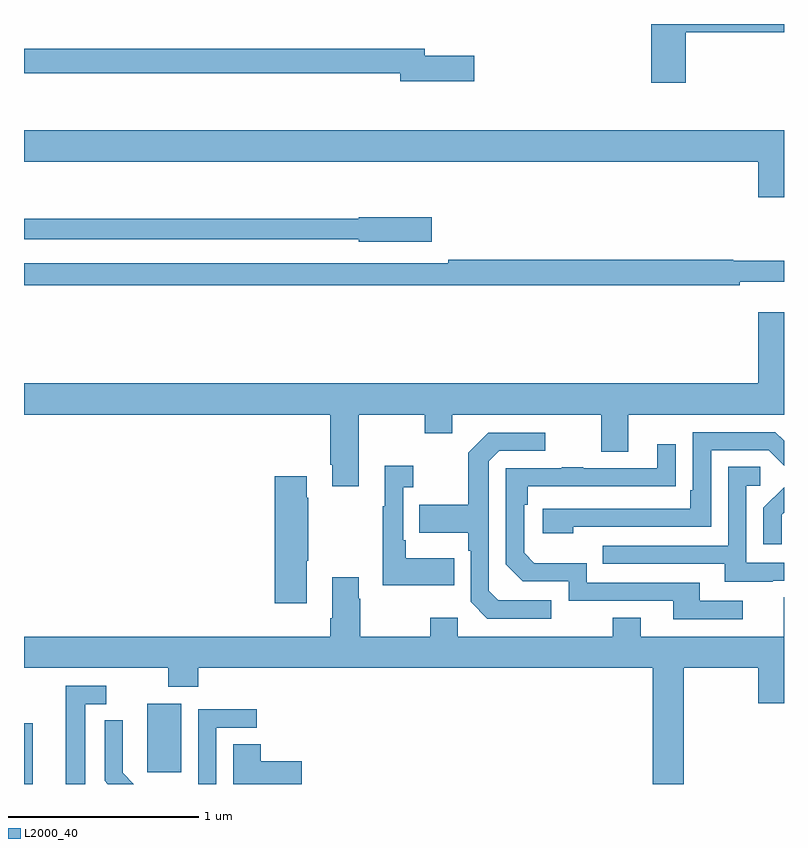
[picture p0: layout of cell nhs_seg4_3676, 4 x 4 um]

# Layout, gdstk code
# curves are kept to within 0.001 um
import gdstk
lib = gdstk.Library(unit=1e-6, precision=1e-09)
def R(c, l, rs):  # rectangles x0, y0, x1, y1
    for r in rs: c.add(gdstk.rectangle(r[:2], r[2:], *l))
def P(c, l, *ps):  # polygons
    for p in ps: c.add(gdstk.Polygon(p, *l))
L2000_40 = (2000, 40)

nhs_seg4_3676 = lib.new_cell('nhs_seg4_3676')
R(nhs_seg4_3676, L2000_40, [(305,770.9,305.047,771.219), (305.648,770.961,305.827,771.322)])
P(nhs_seg4_3676, L2000_40, [(308.483,774.856),(309,774.856),(309,774.9),(308.3,774.9),(308.3,774.591),(308.483,774.591)],
  [(307.369,774.734),(307.108,774.734),(307.108,774.77),(305,774.77),(305,774.642),(306.98,774.642),(306.98,774.599),(307.369,774.599)],
  [(309,774.34),(305,774.34),(305,774.176),(308.864,774.176),(308.864,773.988),(309,773.988)],
  [(307.147,773.883),(306.762,773.883),(306.762,773.875),(305,773.875),(305,773.766),(306.762,773.766),(306.762,773.753),(307.147,773.753)],
  [(308.768,773.543),(309,773.543),(309,773.653),(308.734,773.653),(308.734,773.66),(307.234,773.66),(307.234,773.64),(305,773.64),(305,773.524),(308.768,773.524)],
  [(305,772.844),(306.611,772.844),(306.611,772.579),(306.623,772.579),(306.623,772.467),(306.763,772.467),(306.763,772.844),(307.108,772.844),(307.108,772.745),(307.255,772.745),(307.255,772.844),(308.039,772.844),(308.039,772.65),(308.179,772.65),(308.179,772.844),(309,772.844),(309,773.383),(308.864,773.383),(308.864,773.008),(305,773.008)],
  [(307.892,772.254),(308.616,772.254),(308.616,772.656),(308.919,772.656),(309,772.575),(309,772.707),(308.955,772.752),(308.52,772.752),(308.52,772.447),(308.507,772.447),(308.507,772.35),(307.731,772.35),(307.731,772.22),(307.892,772.22)],
  [(307.774,771.867),(307.497,771.867),(307.446,771.918),(307.446,772.599),(307.5,772.653),(307.744,772.653),(307.744,772.749),(307.443,772.749),(307.338,772.643),(307.338,772.371),(307.081,772.371),(307.081,772.223),(307.338,772.223),(307.338,772.127),(307.35,772.127),(307.35,771.858),(307.437,771.771),(307.774,771.771)],
  [(308.782,771.864),(308.557,771.864),(308.557,771.96),(307.962,771.96),(307.962,772.063),(307.685,772.063),(307.632,772.116),(307.632,772.37),(307.652,772.37),(307.652,772.467),(308.429,772.468),(308.429,772.687),(308.333,772.687),(308.333,772.563),(307.943,772.563),(307.943,772.568),(307.831,772.568),(307.831,772.563),(307.536,772.563),(307.536,772.056),(307.626,771.966),(307.866,771.966),(307.866,771.864),(308.417,771.864),(308.417,771.768),(308.782,771.768)],
  [(307.265,772.087),(307.009,772.087),(307.009,772.183),(306.996,772.183),(306.996,772.463),(307.048,772.463),(307.048,772.576),(306.899,772.576),(306.899,772.363),(306.888,772.363),(306.888,771.947),(307.265,771.947)],
  [(308.941,771.969),(309,771.969),(309,772.065),(308.802,772.065),(308.802,772.47),(308.875,772.47),(308.875,772.571),(308.706,772.571),(308.706,772.155),(308.047,772.155),(308.047,772.059),(308.687,772.059),(308.687,771.965),(308.941,771.965)],
  [(306.487,772.075),(306.495,772.075),(306.495,772.406),(306.487,772.406),(306.487,772.519),(306.32,772.519),(306.32,771.852),(306.487,771.852)],
  [(308.989,772.317),(309,772.328),(309,772.462),(308.892,772.354),(308.892,772.161),(308.989,772.161)],
  [(308.473,771.512),(308.864,771.512),(308.864,771.324),(309,771.324),(309,771.884),(308.999,771.884),(308.999,771.676),(308.245,771.676),(308.245,771.775),(308.098,771.775),(308.098,771.676),(307.284,771.676),(307.284,771.775),(307.138,771.775),(307.138,771.676),(306.771,771.676),(306.771,771.875),(306.763,771.875),(306.763,771.988),(306.623,771.988),(306.623,771.772),(306.611,771.772),(306.611,771.676),(305,771.676),(305,771.512),(305.758,771.512),(305.758,771.413),(305.918,771.413),(305.918,771.512),(308.309,771.512),(308.309,770.9),(308.473,770.9)],
  [(305.323,771.321),(305.434,771.321),(305.434,771.417),(305.219,771.417),(305.219,770.9),(305.323,770.9)],
  [(306.012,771.195),(306.226,771.195),(306.226,771.294),(305.916,771.294),(305.916,770.9),(306.012,770.9)],
  [(305.519,770.96),(305.519,771.082),(305.52,771.082),(305.52,771.236),(305.424,771.236),(305.424,770.918),(305.442,770.9),(305.578,770.9)],
  [(306.463,771.02),(306.245,771.02),(306.245,771.11),(306.101,771.11),(306.101,770.9),(306.463,770.9)])

lib.write_gds('nhs_seg4_3676.gds')
